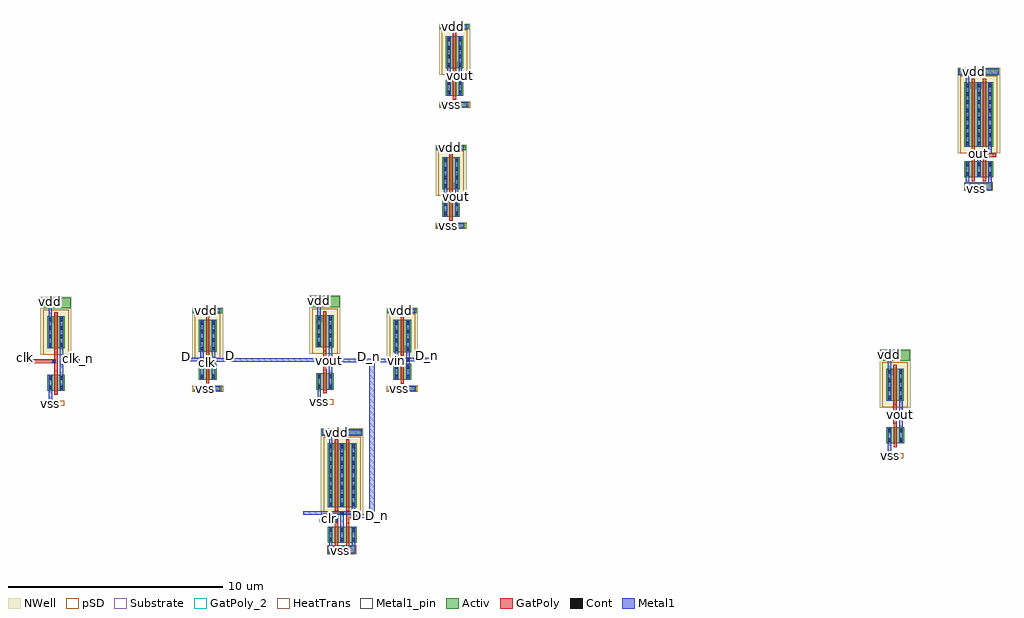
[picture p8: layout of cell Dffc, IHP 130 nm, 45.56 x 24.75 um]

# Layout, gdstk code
from math import pi, radians
import gdstk
lib = gdstk.Library(unit=1e-6, precision=1e-09)
def R(c, l, rs):  # rectangles x0, y0, x1, y1
    for r in rs: c.add(gdstk.rectangle(r[:2], r[2:], *l))
def A(c, l, x, y, w, h, nx, ny, dx, dy):  # array of equal rectangles
    R(c, l, [(x+i*dx, y+j*dy, x+i*dx+w, y+j*dy+h) for i in range(nx) for j in range(ny)])
def P(c, l, *ps):  # polygons
    for p in ps: c.add(gdstk.Polygon(p, *l))
Activ = (1, 0)
GatPoly = (5, 0)
GatPoly_2 = (5, 2)
Cont = (6, 0)
Metal1 = (8, 0)
Metal1_pin = (8, 2)
pSD = (14, 0)
NWell = (31, 0)
Substrate = (40, 0)
HeatTrans = (51, 0)

pmos_1_1 = lib.new_cell('pmos$1$1')
R(pmos_1_1, Activ, [(0,0,0.3,0.3), (0,0,0.83,3), (0.53,0,0.83,0.3)])
R(pmos_1_1, GatPoly, [(0.34,-0.18,0.49,3.18), (0.34,-0.18,0.49,3.18)])
A(pmos_1_1, Cont, 0.07, 0.07, 0.16, 0.16, 1, 7, 0, 0.385)
A(pmos_1_1, Cont, 0.6, 0.07, 0.16, 0.16, 1, 7, 0, 0.385)
R(pmos_1_1, Cont, [(0.07,2.77,0.23,2.93), (0.6,2.77,0.76,2.93)])
R(pmos_1_1, Metal1, [(0.07,0,0.23,3), (0.07,0,0.23,3), (0.6,0,0.76,3), (0.6,0,0.76,3)])
R(pmos_1_1, pSD, [(-0.18,-0.3,1.01,3.3)])
R(pmos_1_1, NWell, [(-0.31,-0.31,1.14,3.31)])
R(pmos_1_1, Substrate, [(0.53,0,0.83,0.3)])
R(pmos_1_1, HeatTrans, [(0.34,-0.18,0.49,3.18)])
pmos_1_1.add(gdstk.Label('pmos', (0.415,1.5), layer=63, texttype=0))
pmos_1_1.add(gdstk.Label('pmos', (0.415,1.5), layer=51, texttype=0))

nmos_1_1 = lib.new_cell('nmos$1$1')
R(nmos_1_1, Activ, [(0.002,0.22,0.302,0.52), (0.002,0.22,0.832,0.97), (0.532,0.22,0.832,0.52)])
R(nmos_1_1, GatPoly, [(0.342,0.04,0.492,1.15)])
R(nmos_1_1, GatPoly_2, [(0.342,0.04,0.492,1.15)])
R(nmos_1_1, Cont, [(0.072,0.29,0.232,0.45), (0.602,0.29,0.762,0.45), (0.072,0.74,0.232,0.9), (0.602,0.74,0.762,0.9)])
R(nmos_1_1, Metal1, [(0.072,0.22,0.232,0.97), (0.602,0.22,0.762,0.97)])
R(nmos_1_1, Metal1_pin, [(0.072,0.22,0.232,0.97), (0.602,0.22,0.762,0.97)])
R(nmos_1_1, HeatTrans, [(0.342,0.04,0.492,1.15)])
nmos_1_1.add(gdstk.Label('nmos', (0.417,0.595), layer=63, texttype=0))
nmos_1_1.add(gdstk.Label('nmos', (0.417,0.595), layer=51, texttype=0))

nmos_1_3 = lib.new_cell('nmos$1$3')
R(nmos_1_3, Activ, [(0,0,0.3,0.3), (0,0,0.83,0.75), (0.53,0,0.83,0.3)])
R(nmos_1_3, GatPoly, [(0.34,-0.18,0.49,0.93)])
R(nmos_1_3, GatPoly_2, [(0.34,-0.18,0.49,0.93)])
R(nmos_1_3, Cont, [(0.07,0.07,0.23,0.23), (0.6,0.07,0.76,0.23), (0.07,0.52,0.23,0.68), (0.6,0.52,0.76,0.68)])
R(nmos_1_3, Metal1, [(0.07,0,0.23,0.75), (0.6,0,0.76,0.75)])
R(nmos_1_3, Metal1_pin, [(0.07,0,0.23,0.75), (0.6,0,0.76,0.75)])
R(nmos_1_3, HeatTrans, [(0.34,-0.18,0.49,0.93)])
nmos_1_3.add(gdstk.Label('nmos', (0.415,0.375), layer=63, texttype=0))
nmos_1_3.add(gdstk.Label('nmos', (0.415,0.375), layer=51, texttype=0))

pmos_1_3 = lib.new_cell('pmos$1$3')
R(pmos_1_3, Activ, [(0,0,0.3,0.3), (0,0,0.83,1.5), (0.53,0,0.83,0.3)])
R(pmos_1_3, GatPoly, [(0.34,-0.18,0.49,1.68), (0.34,-0.18,0.49,1.68)])
A(pmos_1_3, Cont, 0.07, 0.07, 0.16, 0.16, 1, 4, 0, 0.4)
A(pmos_1_3, Cont, 0.6, 0.07, 0.16, 0.16, 1, 4, 0, 0.4)
R(pmos_1_3, Metal1, [(0.07,0,0.23,1.5), (0.07,0,0.23,1.5), (0.6,0,0.76,1.5), (0.6,0,0.76,1.5)])
R(pmos_1_3, pSD, [(-0.18,-0.3,1.01,1.8)])
R(pmos_1_3, NWell, [(-0.31,-0.31,1.14,1.81)])
R(pmos_1_3, Substrate, [(0.53,0,0.83,0.3)])
R(pmos_1_3, HeatTrans, [(0.34,-0.18,0.49,1.68)])
pmos_1_3.add(gdstk.Label('pmos', (0.415,0.75), layer=63, texttype=0))
pmos_1_3.add(gdstk.Label('pmos', (0.415,0.75), layer=51, texttype=0))

nmos_1_3_1 = lib.new_cell('nmos$1$3$1')
R(nmos_1_3_1, Activ, [(0,0,0.3,0.3), (0,0,0.83,0.75), (0.53,0,0.83,0.3)])
R(nmos_1_3_1, GatPoly, [(0.34,-0.18,0.49,0.93)])
R(nmos_1_3_1, GatPoly_2, [(0.34,-0.18,0.49,0.93)])
R(nmos_1_3_1, Cont, [(0.07,0.07,0.23,0.23), (0.6,0.07,0.76,0.23), (0.07,0.52,0.23,0.68), (0.6,0.52,0.76,0.68)])
R(nmos_1_3_1, Metal1, [(0.07,0,0.23,0.75), (0.6,0,0.76,0.75)])
R(nmos_1_3_1, Metal1_pin, [(0.07,0,0.23,0.75), (0.6,0,0.76,0.75)])
R(nmos_1_3_1, HeatTrans, [(0.34,-0.18,0.49,0.93)])
nmos_1_3_1.add(gdstk.Label('nmos', (0.415,0.375), layer=63, texttype=0))
nmos_1_3_1.add(gdstk.Label('nmos', (0.415,0.375), layer=51, texttype=0))

pmos_1_3_1 = lib.new_cell('pmos$1$3$1')
R(pmos_1_3_1, Activ, [(0,0,0.3,0.3), (0,0,0.83,1.5), (0.53,0,0.83,0.3)])
R(pmos_1_3_1, GatPoly, [(0.34,-0.18,0.49,1.68), (0.34,-0.18,0.49,1.68)])
A(pmos_1_3_1, Cont, 0.07, 0.07, 0.16, 0.16, 1, 4, 0, 0.4)
A(pmos_1_3_1, Cont, 0.6, 0.07, 0.16, 0.16, 1, 4, 0, 0.4)
R(pmos_1_3_1, Metal1, [(0.07,0,0.23,1.5), (0.07,0,0.23,1.5), (0.6,0,0.76,1.5), (0.6,0,0.76,1.5)])
R(pmos_1_3_1, pSD, [(-0.18,-0.3,1.01,1.8)])
R(pmos_1_3_1, NWell, [(-0.31,-0.31,1.14,1.81)])
R(pmos_1_3_1, Substrate, [(0.53,0,0.83,0.3)])
R(pmos_1_3_1, HeatTrans, [(0.34,-0.18,0.49,1.68)])
pmos_1_3_1.add(gdstk.Label('pmos', (0.415,0.75), layer=63, texttype=0))
pmos_1_3_1.add(gdstk.Label('pmos', (0.415,0.75), layer=51, texttype=0))

nmos_1_3_1_1 = lib.new_cell('nmos$1$3$1$1')
R(nmos_1_3_1_1, Activ, [(0,0,0.3,0.3), (0,0,0.83,0.75), (0.53,0,0.83,0.3)])
R(nmos_1_3_1_1, GatPoly, [(0.34,-0.18,0.49,0.93)])
R(nmos_1_3_1_1, GatPoly_2, [(0.34,-0.18,0.49,0.93)])
R(nmos_1_3_1_1, Cont, [(0.07,0.07,0.23,0.23), (0.6,0.07,0.76,0.23), (0.07,0.52,0.23,0.68), (0.6,0.52,0.76,0.68)])
R(nmos_1_3_1_1, Metal1, [(0.07,0,0.23,0.75), (0.6,0,0.76,0.75)])
R(nmos_1_3_1_1, Metal1_pin, [(0.07,0,0.23,0.75), (0.6,0,0.76,0.75)])
R(nmos_1_3_1_1, HeatTrans, [(0.34,-0.18,0.49,0.93)])
nmos_1_3_1_1.add(gdstk.Label('nmos', (0.415,0.375), layer=63, texttype=0))
nmos_1_3_1_1.add(gdstk.Label('nmos', (0.415,0.375), layer=51, texttype=0))

pmos_1_3_1_1 = lib.new_cell('pmos$1$3$1$1')
R(pmos_1_3_1_1, Activ, [(0,0,0.3,0.3), (0,0,0.83,1.5), (0.53,0,0.83,0.3)])
R(pmos_1_3_1_1, GatPoly, [(0.34,-0.18,0.49,1.68), (0.34,-0.18,0.49,1.68)])
A(pmos_1_3_1_1, Cont, 0.07, 0.07, 0.16, 0.16, 1, 4, 0, 0.4)
A(pmos_1_3_1_1, Cont, 0.6, 0.07, 0.16, 0.16, 1, 4, 0, 0.4)
R(pmos_1_3_1_1, Metal1, [(0.07,0,0.23,1.5), (0.07,0,0.23,1.5), (0.6,0,0.76,1.5), (0.6,0,0.76,1.5)])
R(pmos_1_3_1_1, pSD, [(-0.18,-0.3,1.01,1.8)])
R(pmos_1_3_1_1, NWell, [(-0.31,-0.31,1.14,1.81)])
R(pmos_1_3_1_1, Substrate, [(0.53,0,0.83,0.3)])
R(pmos_1_3_1_1, HeatTrans, [(0.34,-0.18,0.49,1.68)])
pmos_1_3_1_1.add(gdstk.Label('pmos', (0.415,0.75), layer=63, texttype=0))
pmos_1_3_1_1.add(gdstk.Label('pmos', (0.415,0.75), layer=51, texttype=0))

nmos_3_1 = lib.new_cell('nmos$3$1')
R(nmos_3_1, Activ, [(0,0,0.3,0.3), (0,0,0.83,0.75), (0.53,0,0.83,0.3)])
R(nmos_3_1, GatPoly, [(0.34,-0.18,0.49,0.93)])
R(nmos_3_1, GatPoly_2, [(0.34,-0.18,0.49,0.93)])
R(nmos_3_1, Cont, [(0.07,0.07,0.23,0.23), (0.6,0.07,0.76,0.23), (0.07,0.52,0.23,0.68), (0.6,0.52,0.76,0.68)])
R(nmos_3_1, Metal1, [(0.07,0,0.23,0.75), (0.6,0,0.76,0.75)])
R(nmos_3_1, Metal1_pin, [(0.07,0,0.23,0.75), (0.6,0,0.76,0.75)])
R(nmos_3_1, HeatTrans, [(0.34,-0.18,0.49,0.93)])
nmos_3_1.add(gdstk.Label('nmos', (0.415,0.375), layer=63, texttype=0))
nmos_3_1.add(gdstk.Label('nmos', (0.415,0.375), layer=51, texttype=0))

pmos_3_1 = lib.new_cell('pmos$3$1')
R(pmos_3_1, Activ, [(0,0,0.3,0.3), (0,0,0.83,1.5), (0.53,0,0.83,0.3)])
R(pmos_3_1, GatPoly, [(0.34,-0.18,0.49,1.68), (0.34,-0.18,0.49,1.68)])
A(pmos_3_1, Cont, 0.07, 0.07, 0.16, 0.16, 1, 4, 0, 0.4)
A(pmos_3_1, Cont, 0.6, 0.07, 0.16, 0.16, 1, 4, 0, 0.4)
R(pmos_3_1, Metal1, [(0.07,0,0.23,1.5), (0.07,0,0.23,1.5), (0.6,0,0.76,1.5), (0.6,0,0.76,1.5)])
R(pmos_3_1, pSD, [(-0.18,-0.3,1.01,1.8)])
R(pmos_3_1, NWell, [(-0.31,-0.31,1.14,1.81)])
R(pmos_3_1, Substrate, [(0.53,0,0.83,0.3)])
R(pmos_3_1, HeatTrans, [(0.34,-0.18,0.49,1.68)])
pmos_3_1.add(gdstk.Label('pmos', (0.415,0.75), layer=63, texttype=0))
pmos_3_1.add(gdstk.Label('pmos', (0.415,0.75), layer=51, texttype=0))

nmos_3_1_1 = lib.new_cell('nmos$3$1$1')
R(nmos_3_1_1, Activ, [(0,0,0.3,0.3), (0,0,0.83,0.75), (0.53,0,0.83,0.3)])
R(nmos_3_1_1, GatPoly, [(0.34,-0.18,0.49,0.93)])
R(nmos_3_1_1, GatPoly_2, [(0.34,-0.18,0.49,0.93)])
R(nmos_3_1_1, Cont, [(0.07,0.07,0.23,0.23), (0.6,0.07,0.76,0.23), (0.07,0.52,0.23,0.68), (0.6,0.52,0.76,0.68)])
R(nmos_3_1_1, Metal1, [(0.07,0,0.23,0.75), (0.6,0,0.76,0.75)])
R(nmos_3_1_1, Metal1_pin, [(0.07,0,0.23,0.75), (0.6,0,0.76,0.75)])
R(nmos_3_1_1, HeatTrans, [(0.34,-0.18,0.49,0.93)])
nmos_3_1_1.add(gdstk.Label('nmos', (0.415,0.375), layer=63, texttype=0))
nmos_3_1_1.add(gdstk.Label('nmos', (0.415,0.375), layer=51, texttype=0))

pmos_3_1_1 = lib.new_cell('pmos$3$1$1')
R(pmos_3_1_1, Activ, [(0,0,0.3,0.3), (0,0,0.83,1.5), (0.53,0,0.83,0.3)])
R(pmos_3_1_1, GatPoly, [(0.34,-0.18,0.49,1.68), (0.34,-0.18,0.49,1.68)])
A(pmos_3_1_1, Cont, 0.07, 0.07, 0.16, 0.16, 1, 4, 0, 0.4)
A(pmos_3_1_1, Cont, 0.6, 0.07, 0.16, 0.16, 1, 4, 0, 0.4)
R(pmos_3_1_1, Metal1, [(0.07,0,0.23,1.5), (0.07,0,0.23,1.5), (0.6,0,0.76,1.5), (0.6,0,0.76,1.5)])
R(pmos_3_1_1, pSD, [(-0.18,-0.3,1.01,1.8)])
R(pmos_3_1_1, NWell, [(-0.31,-0.31,1.14,1.81)])
R(pmos_3_1_1, Substrate, [(0.53,0,0.83,0.3)])
R(pmos_3_1_1, HeatTrans, [(0.34,-0.18,0.49,1.68)])
pmos_3_1_1.add(gdstk.Label('pmos', (0.415,0.75), layer=63, texttype=0))
pmos_3_1_1.add(gdstk.Label('pmos', (0.415,0.75), layer=51, texttype=0))

nmos_3_1_1_1 = lib.new_cell('nmos$3$1$1$1')
R(nmos_3_1_1_1, Activ, [(-2.545,-0.011,-2.245,0.289), (-2.545,-0.011,-1.715,0.739), (-2.015,-0.011,-1.715,0.289)])
R(nmos_3_1_1_1, GatPoly, [(-2.205,-0.191,-2.055,0.919)])
R(nmos_3_1_1_1, GatPoly_2, [(-2.205,-0.191,-2.055,0.919)])
R(nmos_3_1_1_1, Cont, [(-2.475,0.059,-2.315,0.219), (-1.945,0.059,-1.785,0.219), (-2.475,0.509,-2.315,0.669), (-1.945,0.509,-1.785,0.669)])
R(nmos_3_1_1_1, Metal1, [(-2.475,-0.011,-2.315,0.739), (-1.945,-0.011,-1.785,0.739)])
R(nmos_3_1_1_1, Metal1_pin, [(-2.475,-0.011,-2.315,0.739), (-1.945,-0.011,-1.785,0.739)])
R(nmos_3_1_1_1, HeatTrans, [(-2.205,-0.191,-2.055,0.919)])
nmos_3_1_1_1.add(gdstk.Label('nmos', (-2.13,0.364), layer=63, texttype=0))
nmos_3_1_1_1.add(gdstk.Label('nmos', (-2.13,0.364), layer=51, texttype=0))

pmos_3_1_1_1 = lib.new_cell('pmos$3$1$1$1')
R(pmos_3_1_1_1, Activ, [(-2.545,-0.011,-2.245,0.289), (-2.545,-0.011,-1.715,1.489), (-2.015,-0.011,-1.715,0.289)])
R(pmos_3_1_1_1, GatPoly, [(-2.205,-0.191,-2.055,1.669), (-2.205,-0.191,-2.055,1.669)])
A(pmos_3_1_1_1, Cont, -2.475, 0.059, 0.16, 0.16, 1, 4, 0, 0.4)
A(pmos_3_1_1_1, Cont, -1.945, 0.059, 0.16, 0.16, 1, 4, 0, 0.4)
R(pmos_3_1_1_1, Metal1, [(-2.475,-0.011,-2.315,1.489), (-2.475,-0.011,-2.315,1.489), (-1.945,-0.011,-1.785,1.489), (-1.945,-0.011,-1.785,1.489)])
R(pmos_3_1_1_1, pSD, [(-2.725,-0.311,-1.535,1.789)])
R(pmos_3_1_1_1, NWell, [(-2.855,-0.321,-1.405,1.799)])
R(pmos_3_1_1_1, Substrate, [(-2.015,-0.011,-1.715,0.289)])
R(pmos_3_1_1_1, HeatTrans, [(-2.205,-0.191,-2.055,1.669)])
pmos_3_1_1_1.add(gdstk.Label('pmos', (-2.13,0.739), layer=63, texttype=0))
pmos_3_1_1_1.add(gdstk.Label('pmos', (-2.13,0.739), layer=51, texttype=0))

pmos_1_1_1 = lib.new_cell('pmos$1$1$1')
R(pmos_1_1_1, Activ, [(0,0,0.3,0.3), (0,0,0.83,3), (0.53,0,0.83,0.3)])
R(pmos_1_1_1, GatPoly, [(0.34,-0.18,0.49,3.18), (0.34,-0.18,0.49,3.18)])
A(pmos_1_1_1, Cont, 0.07, 0.07, 0.16, 0.16, 1, 7, 0, 0.385)
A(pmos_1_1_1, Cont, 0.6, 0.07, 0.16, 0.16, 1, 7, 0, 0.385)
R(pmos_1_1_1, Cont, [(0.07,2.77,0.23,2.93), (0.6,2.77,0.76,2.93)])
R(pmos_1_1_1, Metal1, [(0.07,0,0.23,3), (0.07,0,0.23,3), (0.6,0,0.76,3), (0.6,0,0.76,3)])
R(pmos_1_1_1, pSD, [(-0.18,-0.3,1.01,3.3)])
R(pmos_1_1_1, NWell, [(-0.31,-0.31,1.14,3.31)])
R(pmos_1_1_1, Substrate, [(0.53,0,0.83,0.3)])
R(pmos_1_1_1, HeatTrans, [(0.34,-0.18,0.49,3.18)])
pmos_1_1_1.add(gdstk.Label('pmos', (0.415,1.5), layer=63, texttype=0))
pmos_1_1_1.add(gdstk.Label('pmos', (0.415,1.5), layer=51, texttype=0))

nmos_1_1_1 = lib.new_cell('nmos$1$1$1')
R(nmos_1_1_1, Activ, [(0,0,0.3,0.3), (0,0,0.83,0.75), (0.53,0,0.83,0.3)])
R(nmos_1_1_1, GatPoly, [(0.34,-0.18,0.49,0.93)])
R(nmos_1_1_1, GatPoly_2, [(0.34,-0.18,0.49,0.93)])
R(nmos_1_1_1, Cont, [(0.07,0.07,0.23,0.23), (0.6,0.07,0.76,0.23), (0.07,0.52,0.23,0.68), (0.6,0.52,0.76,0.68)])
R(nmos_1_1_1, Metal1, [(0.07,0,0.23,0.75), (0.6,0,0.76,0.75)])
R(nmos_1_1_1, Metal1_pin, [(0.07,0,0.23,0.75), (0.6,0,0.76,0.75)])
R(nmos_1_1_1, HeatTrans, [(0.34,-0.18,0.49,0.93)])
nmos_1_1_1.add(gdstk.Label('nmos', (0.415,0.375), layer=63, texttype=0))
nmos_1_1_1.add(gdstk.Label('nmos', (0.415,0.375), layer=51, texttype=0))

pmos_3 = lib.new_cell('pmos$3')
R(pmos_3, Activ, [(0,0,0.3,0.3), (0,0,0.83,1.5), (0.53,0,0.83,0.3)])
R(pmos_3, GatPoly, [(0.34,-0.18,0.49,1.68), (0.34,-0.18,0.49,1.68)])
A(pmos_3, Cont, 0.07, 0.07, 0.16, 0.16, 1, 4, 0, 0.4)
A(pmos_3, Cont, 0.6, 0.07, 0.16, 0.16, 1, 4, 0, 0.4)
R(pmos_3, Metal1, [(0.07,0,0.23,1.5), (0.07,0,0.23,1.5), (0.6,0,0.76,1.5), (0.6,0,0.76,1.5)])
R(pmos_3, pSD, [(-0.18,-0.3,1.01,1.8)])
R(pmos_3, NWell, [(-0.31,-0.31,1.14,1.81)])
R(pmos_3, Substrate, [(0.53,0,0.83,0.3)])
R(pmos_3, HeatTrans, [(0.34,-0.18,0.49,1.68)])
pmos_3.add(gdstk.Label('pmos', (0.415,0.75), layer=63, texttype=0))
pmos_3.add(gdstk.Label('pmos', (0.415,0.75), layer=51, texttype=0))

nmos_3 = lib.new_cell('nmos$3')
R(nmos_3, Activ, [(0,0,0.3,0.3), (0,0,0.83,0.75), (0.53,0,0.83,0.3)])
R(nmos_3, GatPoly, [(0.34,-0.18,0.49,0.93)])
R(nmos_3, GatPoly_2, [(0.34,-0.18,0.49,0.93)])
R(nmos_3, Cont, [(0.07,0.07,0.23,0.23), (0.6,0.07,0.76,0.23), (0.07,0.52,0.23,0.68), (0.6,0.52,0.76,0.68)])
R(nmos_3, Metal1, [(0.07,0,0.23,0.75), (0.6,0,0.76,0.75)])
R(nmos_3, Metal1_pin, [(0.07,0,0.23,0.75), (0.6,0,0.76,0.75)])
R(nmos_3, HeatTrans, [(0.34,-0.18,0.49,0.93)])
nmos_3.add(gdstk.Label('nmos', (0.415,0.375), layer=63, texttype=0))
nmos_3.add(gdstk.Label('nmos', (0.415,0.375), layer=51, texttype=0))

dffc = lib.new_cell('Dffc')
R(dffc, Activ, [(-4.162,-3.851,-2.877,-3.486), (21.869,0.649,22.504,0.819), (-4.461,1.649,-2.561,1.964), (-17.309,3.101,-16.674,3.271), (-4.754,3.152,-4.119,3.322), (-1.348,3.725,-0.033,3.98), (-10.436,3.731,-9.121,3.986), (21.624,5.144,23.009,5.649), (-1.388,7.375,-0.013,7.605), (-10.476,7.381,-9.101,7.611), (-17.554,7.596,-16.169,8.101), (-4.999,7.647,-3.614,8.152), (0.924,11.333,2.239,11.588), (25.562,13.101,26.847,13.466), (0.884,14.983,2.259,15.213), (1.089,16.979,2.404,17.234), (25.262,18.491,27.162,18.806), (1.049,20.629,2.424,20.859)])
R(dffc, GatPoly, [(22.239,2.209,22.389,3.099), (22.129,2.589,22.299,2.759), (-4.384,4.712,-4.234,5.602), (-4.494,5.092,-4.324,5.262)])
P(dffc, GatPoly, [(-3.881,-2.441),(-3.881,-2.193),(-3.846,-2.193),(-3.846,-2.006),(-3.841,-2.006),(-3.841,-1.876),(-3.691,-1.876),(-3.691,-2.421),(-3.692,-2.421),(-3.692,-2.441)],
  [(-3.312,-2.428),(-3.312,-2.178),(-3.311,-2.178),(-3.311,-1.876),(-3.161,-1.876),(-3.161,-2.006),(-2.691,-2.006),(-2.691,-2.196),(-3.162,-2.196),(-3.162,-2.428)],
  [(-16.939,4.661),(-16.939,5.038),(-18.353,5.038),(-18.353,5.228),(-16.939,5.228),(-16.939,5.551),(-16.789,5.551),(-16.789,4.661)],
  [(26.412,14.646),(26.412,14.966),(26.562,14.966),(26.562,14.836),(27.032,14.836),(27.032,14.646)],
  [(25.882,14.581),(25.882,14.671),(25.847,14.671),(25.847,14.836),(25.882,14.836),(25.882,14.966),(26.032,14.966),(26.032,14.581)])
R(dffc, GatPoly_2, [(-3.876,-2.421,-3.695,-2.198), (-2.862,-2.176,-2.702,-2.016), (-0.763,5.045,-0.613,5.19), (-9.851,5.051,-9.701,5.196), (-0.763,5.375,-0.613,5.54), (-9.851,5.381,-9.701,5.546), (1.509,12.653,1.659,12.798), (1.509,12.983,1.659,13.148), (26.867,14.666,27.022,14.826), (25.852,14.676,26.022,14.831), (1.674,18.299,1.824,18.444), (1.674,18.629,1.824,18.794)])
R(dffc, Cont, [(-3.677,-3.791,-3.467,-3.586), (-3.867,-2.378,-3.707,-2.218), (-2.862,-2.176,-2.702,-2.016), (-3.581,-2.036,-3.421,-1.876), (21.979,0.649,22.139,0.809), (-3.786,1.744,-3.626,1.904), (22.139,2.594,22.299,2.754), (-17.199,3.101,-17.039,3.261), (-4.644,3.152,-4.484,3.312), (-0.903,3.77,-0.738,3.93), (-9.991,3.776,-9.826,3.936), (-17.039,5.046,-16.879,5.206), (-4.484,5.097,-4.324,5.257), (-1.033,5.125,-0.873,5.285), (-0.503,5.125,-0.343,5.285), (-10.121,5.131,-9.961,5.291), (-9.591,5.131,-9.431,5.291), (21.969,5.324,22.129,5.484), (-0.823,7.41,-0.663,7.57), (-9.911,7.416,-9.751,7.576), (-17.209,7.776,-17.049,7.936), (-4.654,7.827,-4.494,7.987), (1.369,11.378,1.534,11.538), (1.239,12.733,1.399,12.893), (1.769,12.733,1.929,12.893), (26.047,13.161,26.257,13.366), (26.142,14.806,26.302,14.966), (1.449,15.018,1.609,15.178), (1.534,17.024,1.699,17.184), (1.404,18.379,1.564,18.539), (1.934,18.379,2.094,18.539), (25.937,18.586,26.097,18.746), (1.614,20.664,1.774,20.824)])
R(dffc, Metal1, [(-4.549,-2.387,-3.706,-2.217), (21.974,0.514,22.134,1.304), (22.499,2.029,22.664,3.279), (22.134,2.589,22.304,2.759), (-17.204,2.966,-17.044,3.756), (-4.649,3.017,-4.489,3.807), (-1.283,3.74,-0.093,3.96), (-10.371,3.746,-9.181,3.966), (21.969,4.779,22.129,5.694), (-17.044,5.041,-16.874,5.211), (-4.489,5.092,-4.319,5.262), (-17.209,7.231,-17.049,8.146), (-4.654,7.282,-4.494,8.197), (-1.358,7.4,-0.093,7.58), (-10.446,7.406,-9.181,7.586), (0.989,11.348,2.179,11.568), (1.239,12.598,1.399,13.163), (1.769,12.608,1.929,13.178), (0.914,15.008,2.179,15.188), (1.154,16.994,2.344,17.214), (1.404,18.244,1.564,18.809), (1.934,18.254,2.094,18.824), (1.079,20.654,2.344,20.834)])
P(dffc, Metal1, [(-3.581,-2.614),(-3.581,-2.036),(-5.322,-2.036),(-5.322,-1.876),(-3.051,-1.876),(-3.051,-1.696),(-2.891,-1.696),(-2.891,-2.036),(-3.421,-2.036),(-3.421,-2.614)],
  [(-9.591,4.977),(-9.591,5.602),(-9.432,5.602),(-9.432,5.262),(-4.319,5.262),(-4.319,5.102),(-9.431,5.102),(-9.431,4.977)],
  [(-4.142,-3.836),(-4.142,-3.501),(-4.112,-3.501),(-4.112,-3.236),(-3.952,-3.236),(-3.952,-3.501),(-3.052,-3.501),(-3.052,-3.236),(-2.892,-3.236),(-2.892,-3.836)],
  [(-10.121,4.996),(-10.121,5.131),(-10.826,5.131),(-10.826,5.29),(-10.121,5.29),(-10.121,5.561),(-9.961,5.561),(-9.961,4.996)],
  [(-2.862,-2.176),(-2.862,-2.016),(-2.235,-2.016),(-2.235,5.083),(-3.959,5.083),(-3.959,4.532),(-4.124,4.532),(-4.124,5.782),(-3.959,5.782),(-3.959,5.244),(-1.033,5.244),(-1.033,5.515),(-0.873,5.515),(-0.873,4.95),(-1.033,4.95),(-1.033,5.083),(-1.988,5.083),(-1.988,-2.176)],
  [(-16.679,4.481),(-16.679,5.731),(-16.514,5.731),(-16.514,5.221),(-15.753,5.221),(-15.753,5.019),(-16.514,5.019),(-16.514,4.481)],
  [(-0.503,5),(-0.503,5.57),(-0.343,5.57),(-0.343,5.285),(0.73,5.285),(0.73,5.124),(-0.343,5.124),(-0.343,5)],
  [(-4.111,1.304),(-4.111,1.669),(-4.441,1.669),(-4.441,1.939),(-2.581,1.939),(-2.581,1.669),(-3.951,1.669),(-3.951,1.304)],
  [(25.582,13.116),(25.582,13.451),(25.612,13.451),(25.612,13.716),(25.772,13.716),(25.772,13.451),(26.672,13.451),(26.672,13.716),(26.832,13.716),(26.832,13.116)],
  [(26.142,14.456),(26.142,14.966),(26.672,14.966),(26.672,15.146),(26.832,15.146),(26.832,14.806),(26.302,14.806),(26.302,14.456)],
  [(25.612,18.146),(25.612,18.511),(25.282,18.511),(25.282,18.781),(27.142,18.781),(27.142,18.511),(25.772,18.511),(25.772,18.146)],
  [(-4.649,3.807),(-4.649,3.807),(-4.489,3.807),(-4.489,3.807)],
  [(21.974,1.304),(21.974,1.304),(22.134,1.304),(22.134,1.304)],
  [(-17.204,3.756),(-17.204,3.756),(-17.044,3.756),(-17.044,3.756)])
R(dffc, Metal1_pin, [(-3.677,-3.791,-3.467,-3.586), (-3.581,-2.036,-3.421,-1.876), (21.974,0.644,22.134,0.819), (-3.786,1.749,-3.626,1.904), (22.499,2.514,22.664,2.769), (-17.204,3.096,-17.044,3.271), (-4.649,3.147,-4.489,3.322), (-0.903,3.77,-0.738,3.93), (-9.991,3.776,-9.826,3.936), (-16.679,4.966,-16.514,5.221), (-4.124,5.017,-3.959,5.272), (-1.033,5.09,-0.873,5.3), (-10.121,5.096,-9.961,5.306), (-0.503,5.1,-0.343,5.3), (-9.591,5.106,-9.431,5.306), (21.969,5.209,22.129,5.614), (-0.823,7.41,-0.663,7.57), (-9.911,7.416,-9.751,7.576), (-17.209,7.661,-17.049,8.066), (-4.654,7.712,-4.494,8.117), (1.369,11.378,1.534,11.538), (1.239,12.698,1.399,12.908), (1.769,12.708,1.929,12.908), (26.047,13.161,26.257,13.366), (26.142,14.806,26.302,14.966), (1.449,15.018,1.609,15.178), (1.534,17.024,1.699,17.184), (1.404,18.344,1.564,18.554), (1.934,18.354,2.094,18.554), (25.937,18.591,26.097,18.746), (1.614,20.664,1.774,20.824)])
R(dffc, pSD, [(-4.187,-3.871,-2.852,-3.466), (21.844,0.599,22.704,0.844), (-17.334,3.051,-16.474,3.296), (-4.779,3.102,-3.919,3.347), (-1.413,3.71,0.037,3.99), (-10.501,3.716,-9.051,3.996), (0.859,11.318,2.309,11.598), (25.537,13.081,26.872,13.486), (1.024,16.964,2.474,17.244)])
R(dffc, NWell, [(-4.491,1.614,-2.511,1.989), (21.589,5.089,23.039,5.699), (-1.413,7.365,0.037,7.62), (-10.501,7.371,-9.051,7.626), (-17.589,7.541,-16.139,8.151), (-5.034,7.592,-3.584,8.202), (0.859,14.973,2.309,15.228), (25.232,18.456,27.212,18.831), (1.024,20.619,2.474,20.874)])
dffc.add(gdstk.Reference(pmos_1_1, (-2.821,1.304), rotation=pi))
dffc.add(gdstk.Reference(nmos_1_1, (-2.821,-2.376), rotation=pi))
dffc.add(gdstk.Reference(pmos_1_1, (-3.351,1.304), rotation=pi))
dffc.add(gdstk.Reference(nmos_1_3, (-3.889,4.557), rotation=pi))
dffc.add(gdstk.Reference(pmos_1_3, (-3.894,7.282), rotation=pi))
dffc.add(gdstk.Reference(nmos_1_3_1, (22.734,2.054), rotation=pi))
dffc.add(gdstk.Reference(pmos_1_3_1, (22.729,4.779), rotation=pi))
dffc.add(gdstk.Reference(nmos_1_3_1_1, (-16.444,4.506), rotation=pi))
dffc.add(gdstk.Reference(pmos_1_3_1_1, (-16.449,7.231), rotation=pi))
dffc.add(gdstk.Reference(nmos_3_1, (1.169,11.873)))
dffc.add(gdstk.Reference(pmos_3_1, (1.169,13.163)))
dffc.add(gdstk.Reference(nmos_3_1_1, (1.334,17.519)))
dffc.add(gdstk.Reference(pmos_3_1_1, (1.334,18.809)))
dffc.add(gdstk.Reference(nmos_3_1_1_1, (-7.646,4.282)))
dffc.add(gdstk.Reference(pmos_3_1_1_1, (-7.646,5.572)))
dffc.add(gdstk.Reference(pmos_1_1_1, (26.902,18.146), rotation=pi))
dffc.add(gdstk.Reference(nmos_1_1_1, (26.372,14.466), rotation=pi))
dffc.add(gdstk.Reference(nmos_1_1_1, (26.902,14.466), rotation=pi))
dffc.add(gdstk.Reference(pmos_1_1_1, (26.372,18.146), rotation=pi))
dffc.add(gdstk.Reference(pmos_3, (-1.103,5.555)))
dffc.add(gdstk.Reference(nmos_3, (-1.103,4.265)))
dffc.add(gdstk.Reference(nmos_1_1, (-3.351,-2.376), rotation=pi))
dffc.add(gdstk.Label('clr', (-4.073,-2.19), layer=63, texttype=0))
dffc.add(gdstk.Label('D_n', (-1.861,-2.092), layer=63, texttype=0))
dffc.add(gdstk.Label('Salida_nor_abajo', (-5.223,-1.797), layer=63, texttype=0))
dffc.add(gdstk.Label('D', (-10.777,5.345), layer=63, texttype=0))
dffc.add(gdstk.Label('D', (-8.713,5.376), layer=63, texttype=0))
dffc.add(gdstk.Label('clk', (-9.763,5.076), layer=63, texttype=0))
dffc.add(gdstk.Label('clk_n', (-9.773,5.434), layer=63, texttype=0))
dffc.add(gdstk.Label('clk', (-18.279,5.325), layer=63, texttype=0))
dffc.add(gdstk.Label('clk_n', (-15.793,5.255), layer=63, texttype=0))
dffc.add(gdstk.Label('D_n', (-2.225,5.36), layer=63, texttype=0))
dffc.add(gdstk.Label('D_n', (0.507,5.396), layer=63, texttype=0))
dffc.add(gdstk.Label('vss', (-3.557,-3.716), layer=8, texttype=2))
dffc.add(gdstk.Label('vout', (-9.521,5.201), layer=8, texttype=2))
dffc.add(gdstk.Label('vin', (-10.051,5.186), layer=8, texttype=2))
dffc.add(gdstk.Label('vss', (-9.901,3.856), layer=8, texttype=2))
dffc.add(gdstk.Label('vdd', (-9.821,7.496), layer=8, texttype=2))
dffc.add(gdstk.Label('out', (-3.521,-2.006), layer=8, texttype=2))
dffc.add(gdstk.Label('vdd', (-3.716,1.819), layer=8, texttype=2))
dffc.add(gdstk.Label('vout', (22.549,2.649), layer=8, texttype=2))
dffc.add(gdstk.Label('vss', (22.079,0.724), layer=8, texttype=2))
dffc.add(gdstk.Label('vdd', (22.054,5.459), layer=8, texttype=2))
dffc.add(gdstk.Label('vout', (-16.629,5.101), layer=8, texttype=2))
dffc.add(gdstk.Label('vss', (-17.099,3.176), layer=8, texttype=2))
dffc.add(gdstk.Label('vdd', (-17.124,7.911), layer=8, texttype=2))
dffc.add(gdstk.Label('vout', (1.839,12.803), layer=8, texttype=2))
dffc.add(gdstk.Label('vin', (1.309,12.788), layer=8, texttype=2))
dffc.add(gdstk.Label('vss', (1.459,11.458), layer=8, texttype=2))
dffc.add(gdstk.Label('vdd', (1.539,15.098), layer=8, texttype=2))
dffc.add(gdstk.Label('vout', (2.004,18.449), layer=8, texttype=2))
dffc.add(gdstk.Label('vin', (1.474,18.434), layer=8, texttype=2))
dffc.add(gdstk.Label('vss', (1.624,17.104), layer=8, texttype=2))
dffc.add(gdstk.Label('vdd', (1.704,20.744), layer=8, texttype=2))
dffc.add(gdstk.Label('out', (26.202,14.836), layer=8, texttype=2))
dffc.add(gdstk.Label('vss', (26.1,13.21), layer=8, texttype=2))
dffc.add(gdstk.Label('vdd', (26.007,18.661), layer=8, texttype=2))
dffc.add(gdstk.Label('vout', (-4.074,5.152), layer=8, texttype=2))
dffc.add(gdstk.Label('vss', (-4.544,3.227), layer=8, texttype=2))
dffc.add(gdstk.Label('vdd', (-4.569,7.962), layer=8, texttype=2))
dffc.add(gdstk.Label('vdd', (-0.733,7.49), layer=8, texttype=2))
dffc.add(gdstk.Label('vss', (-0.813,3.85), layer=8, texttype=2))
dffc.add(gdstk.Label('vin', (-0.963,5.18), layer=8, texttype=2))
dffc.add(gdstk.Label('vout', (-0.433,5.195), layer=8, texttype=2))
dffc.add(gdstk.Label('clr', (-3.784,-2.215), layer=5, texttype=2))
dffc.add(gdstk.Label('Entrada_N', (-9.751,5.126), layer=5, texttype=2))
dffc.add(gdstk.Label('Entrada_P', (-9.786,5.476), layer=5, texttype=2))
dffc.add(gdstk.Label('D', (-2.761,-2.081), layer=5, texttype=2))
dffc.add(gdstk.Label('vin', (22.214,2.664), layer=5, texttype=2))
dffc.add(gdstk.Label('vin', (-16.964,5.116), layer=5, texttype=2))
dffc.add(gdstk.Label('Entrada_N', (1.609,12.728), layer=5, texttype=2))
dffc.add(gdstk.Label('Entrada_P', (1.574,13.078), layer=5, texttype=2))
dffc.add(gdstk.Label('Entrada_N', (1.774,18.374), layer=5, texttype=2))
dffc.add(gdstk.Label('Entrada_P', (1.739,18.724), layer=5, texttype=2))
dffc.add(gdstk.Label('D', (26.962,14.761), layer=5, texttype=2))
dffc.add(gdstk.Label('clr', (25.932,14.751), layer=5, texttype=2))
dffc.add(gdstk.Label('vin', (-4.409,5.167), layer=5, texttype=2))
dffc.add(gdstk.Label('Entrada_P', (-0.698,5.47), layer=5, texttype=2))
dffc.add(gdstk.Label('Entrada_N', (-0.663,5.12), layer=5, texttype=2))

lib.write_gds('Dffc.gds')
